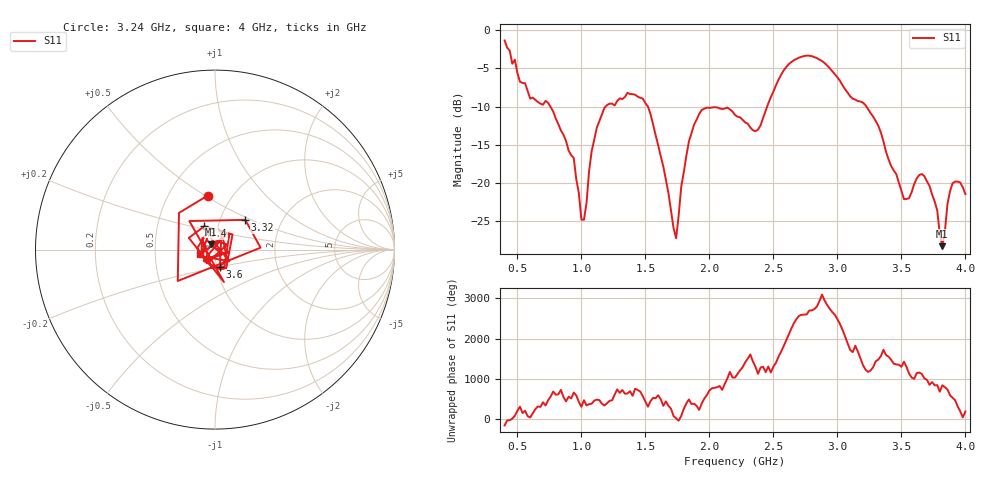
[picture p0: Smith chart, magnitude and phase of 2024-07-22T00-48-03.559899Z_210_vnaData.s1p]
!Created with skrf (http://scikit-rf.org).
# Hz S RI R 50.0
!freq ReS11 ImS11
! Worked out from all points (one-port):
!   181 points, 400 MHz to 4 GHz, reference 50 ohm
!   lowest |S11| = -28.3 dB at 3.82 GHz (marker M1), VSWR 1.08, Z = 47.7 + j2.96 ohm
!   |S11| at or under -10 dB: 757.8 MHz to 1.189 GHz (431.2 MHz wide, 44.3 % of centre); 1.52 GHz to 2.451 GHz (931.1 MHz wide, 46.9 % of centre); 3.227 GHz to end of sweep
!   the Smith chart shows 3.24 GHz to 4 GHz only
!   S11 on the Smith chart (normalised r, x): 3.24 GHz: 0.77, +0.51; 3.32 GHz: 1.31, +0.46; 3.4 GHz: 0.86, +0.23; 3.6 GHz: 1.04, -0.20; 4 GHz: 0.85, -0.04
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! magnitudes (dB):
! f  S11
! 400 MHz  -1.3
! 600 MHz  -9.0
! 740 MHz  -9.5
! 860 MHz  -13.7
! 940 MHz  -16.7
! 1 GHz  -24.8
! 1.02 GHz  -24.8
! 1.12 GHz  -12.8
! 1.3 GHz  -8.9
! 1.52 GHz  -10.0
! 1.74 GHz  -27.2
! 1.76 GHz  -24.2
! 1.84 GHz  -14.5
! 1.92 GHz  -11.0
! 2.2 GHz  -11.1
! 2.38 GHz  -13.0
! 2.66 GHz  -3.9
! 2.88 GHz  -4.0
! 3.1 GHz  -8.7
! 3.24 GHz  -10.3
! 3.32 GHz  -12.5
! 3.4 GHz  -16.9
! 3.56 GHz  -22.0
! 3.6 GHz  -20.1
! 3.72 GHz  -20.4
! 3.82 GHz  -28.3
! 3.9 GHz  -20.0
! 4 GHz  -21.5
